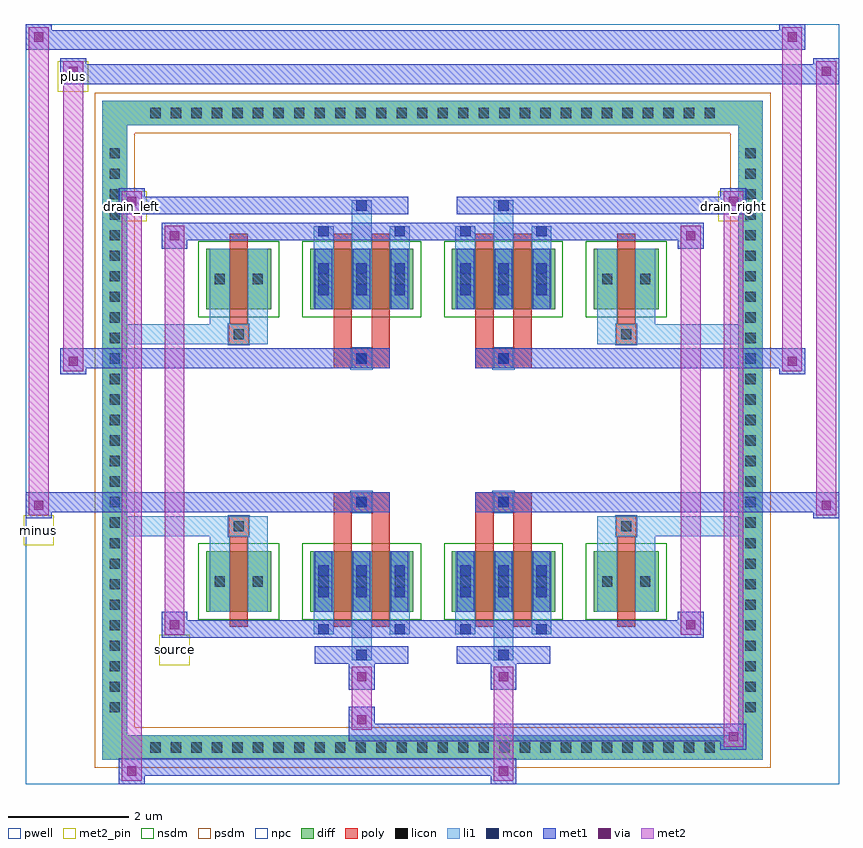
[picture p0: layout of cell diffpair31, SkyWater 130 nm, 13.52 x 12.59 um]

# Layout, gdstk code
import gdstk
lib = gdstk.Library(unit=1e-6, precision=5e-09)
def R(c, l, rs):  # rectangles x0, y0, x1, y1
    for r in rs: c.add(gdstk.rectangle(r[:2], r[2:], *l))
def A(c, l, x, y, w, h, nx, ny, dx, dy):  # array of equal rectangles
    R(c, l, [(x+i*dx, y+j*dy, x+i*dx+w, y+j*dy+h) for i in range(nx) for j in range(ny)])
def P(c, l, *ps):  # polygons
    for p in ps: c.add(gdstk.Polygon(p, *l))
pwell = (64, 44)
diff = (65, 20)
poly = (66, 20)
licon = (66, 44)
li1 = (67, 20)
mcon = (67, 44)
met1 = (68, 20)
via = (68, 44)
met2_pin = (69, 16)
met2 = (69, 20)
nsdm = (93, 44)
psdm = (94, 20)
npc = (95, 20)

diffpair31 = lib.new_cell('diffpair31')
R(diffpair31, pwell, [(-6.74,-5.86,6.74,6.73), (-4.06,-4.05,-0.01,-0.825), (0.01,-4.05,4.06,-0.825), (-4.06,0.825,-0.01,4.05), (0.01,0.825,4.06,4.05)])
A(diffpair31, diff, -4.795, -5.46, 0.41, 0.41, 28, 2, 0.34, 10.51)
A(diffpair31, diff, -5.47, -4.795, 0.41, 0.41, 1, 28, 0, 0.34)
A(diffpair31, diff, 5.06, -4.795, 0.41, 0.41, 1, 28, 0, 0.34)
R(diffpair31, diff, [(-4.795,-5.46,4.795,-5.05), (-5.47,-4.795,-5.06,4.795), (5.06,-4.795,5.47,4.795), (-3.75,-3.005,-2.67,-2.005), (-2.03,-3.005,-0.32,-2.005), (0.32,-3.005,2.03,-2.005), (2.67,-3.005,3.75,-2.005), (-3.75,2.005,-2.67,3.005), (-2.03,2.005,-0.32,3.005), (0.32,2.005,2.03,3.005), (2.67,2.005,3.75,3.005), (-4.795,5.05,4.795,5.46)])
P(diffpair31, diff, [(5.47,5.46),(-5.47,5.46),(-5.47,-5.05),(-5.06,-5.05),(-5.06,5.05),(5.06,5.05),(5.06,-5.05),(-5.06,-5.05),(-5.47,-5.05),(-5.47,-5.46),(5.47,-5.46)])
R(diffpair31, poly, [(-3.36,-3.255,-3.06,-1.755), (-1.64,-3.255,-1.34,-1.755), (-1.01,-3.255,-0.71,-1.755), (0.71,-3.255,1.01,-1.755), (1.34,-3.255,1.64,-1.755), (3.06,-3.255,3.36,-1.755), (-3.375,-1.755,-3.045,-1.425), (-3.375,-1.755,-3.045,-1.425), (-1.64,-1.755,-1.34,-1.355), (-1.01,-1.755,-0.71,-1.355), (0.71,-1.755,1.01,-1.355), (1.34,-1.755,1.64,-1.355), (3.045,-1.755,3.375,-1.425), (3.045,-1.755,3.375,-1.425), (-1.64,-1.355,-0.71,-1.025), (-1.34,-1.355,-1.01,-1.025), (0.71,-1.355,1.64,-1.025), (1.01,-1.355,1.34,-1.025), (-1.64,1.025,-0.71,1.355), (-1.34,1.025,-1.01,1.355), (0.71,1.025,1.64,1.355), (1.01,1.025,1.34,1.355), (-1.64,1.355,-1.34,1.755), (-1.01,1.355,-0.71,1.755), (0.71,1.355,1.01,1.755), (1.34,1.355,1.64,1.755), (-3.375,1.425,-3.045,1.755), (-3.375,1.425,-3.045,1.755), (3.045,1.425,3.375,1.755), (3.045,1.425,3.375,1.755), (-3.36,1.755,-3.06,3.255), (-1.64,1.755,-1.34,3.255), (-1.01,1.755,-0.71,3.255), (0.71,1.755,1.01,3.255), (1.34,1.755,1.64,3.255), (3.06,1.755,3.36,3.255)])
A(diffpair31, licon, -4.675, -5.34, 0.17, 0.17, 28, 2, 0.34, 10.51)
A(diffpair31, licon, -5.35, -4.675, 0.17, 0.17, 1, 28, 0, 0.34)
A(diffpair31, licon, 5.18, -4.675, 0.17, 0.17, 1, 28, 0, 0.34)
A(diffpair31, licon, -1.89, -2.59, 0.17, 0.17, 3, 2, 0.63, 5.01)
A(diffpair31, licon, 0.46, -2.59, 0.17, 0.17, 3, 2, 0.63, 5.01)
R(diffpair31, licon, [(-3.61,-2.59,-3.44,-2.42), (-2.98,-2.59,-2.81,-2.42), (2.81,-2.59,2.98,-2.42), (3.44,-2.59,3.61,-2.42), (-3.295,-1.675,-3.125,-1.505), (3.125,-1.675,3.295,-1.505), (-1.26,-1.275,-1.09,-1.105), (1.09,-1.275,1.26,-1.105), (-1.26,1.105,-1.09,1.275), (1.09,1.105,1.26,1.275), (-3.295,1.505,-3.125,1.675), (3.125,1.505,3.295,1.675), (-3.61,2.42,-3.44,2.59), (-2.98,2.42,-2.81,2.59), (2.81,2.42,2.98,2.59), (3.44,2.42,3.61,2.59)])
A(diffpair31, li1, -4.755, -5.42, 0.33, 0.33, 28, 2, 0.34, 10.51)
A(diffpair31, li1, -5.43, -4.755, 0.33, 0.33, 1, 28, 0, 0.34)
A(diffpair31, li1, 5.1, -4.755, 0.33, 0.33, 1, 28, 0, 0.34)
A(diffpair31, li1, -1.97, -3.005, 0.33, 1, 3, 2, 0.63, 5.01)
A(diffpair31, li1, 0.38, -3.005, 0.33, 1, 3, 2, 0.63, 5.01)
A(diffpair31, li1, -1.89, -2.77, 0.17, 0.17, 3, 2, 0.63, 0.36)
A(diffpair31, li1, -1.89, -2.77, 0.17, 0.53, 3, 2, 0.63, 5.01)
A(diffpair31, li1, 0.46, -2.77, 0.17, 0.17, 3, 2, 0.63, 0.36)
A(diffpair31, li1, 0.46, -2.77, 0.17, 0.53, 3, 2, 0.63, 5.01)
A(diffpair31, li1, -1.97, -2.67, 0.33, 0.33, 3, 2, 0.63, 5.01)
A(diffpair31, li1, 0.38, -2.67, 0.33, 0.33, 3, 2, 0.63, 5.01)
A(diffpair31, li1, -1.89, 2.24, 0.17, 0.17, 3, 2, 0.63, 0.36)
A(diffpair31, li1, 0.46, 2.24, 0.17, 0.17, 3, 2, 0.63, 0.36)
R(diffpair31, li1, [(-5.47,-5.46,-5.06,-5.05), (-5.47,-5.46,-5.06,-5.05), (-5.06,-5.46,5.06,-5.05), (5.06,-5.46,5.47,-5.05), (5.06,-5.46,5.47,-5.05), (-5.47,-5.05,-5.06,5.05), (5.06,-5.05,5.47,5.05), (-1.34,-3.81,-1.01,-3.005), (-1.26,-3.81,-1.09,-3.64), (1.01,-3.81,1.34,-3.005), (1.09,-3.81,1.26,-3.64), (-1.97,-3.38,-1.64,-3.005), (-1.89,-3.38,-1.72,-3.21), (-0.71,-3.38,-0.38,-3.005), (-0.63,-3.38,-0.46,-3.21), (0.38,-3.38,0.71,-3.005), (0.46,-3.38,0.63,-3.21), (1.64,-3.38,1.97,-3.005), (1.72,-3.38,1.89,-3.21), (-3.69,-3.005,-3.36,-2.005), (-3.06,-3.005,-2.73,-2.005), (2.73,-3.005,3.06,-2.005), (3.36,-3.005,3.69,-2.005), (-3.69,-2.67,-3.36,-2.34), (-3.06,-2.67,-2.73,-2.34), (2.73,-2.67,3.06,-2.34), (3.36,-2.67,3.69,-2.34), (-3.69,-2.005,-3.36,-1.425), (-3.06,-2.005,-2.73,-1.425), (2.73,-2.005,3.06,-1.425), (3.36,-2.005,3.69,-1.425), (-5.47,-1.755,-3.375,-1.425), (-3.69,-1.755,-3.375,-1.425), (-3.375,-1.755,-3.045,-1.425), (-3.045,-1.755,-2.73,-1.425), (2.73,-1.755,3.045,-1.425), (3.045,-1.755,3.375,-1.425), (3.045,-1.755,5.47,-1.425), (3.375,-1.755,3.69,-1.425), (-1.34,-1.355,-1.01,-1.025), (1.01,-1.355,1.34,-1.025), (-1.34,1.025,-1.01,1.355), (1.01,1.025,1.34,1.355), (-5.47,1.425,-3.375,1.755), (-3.69,1.425,-3.375,1.755), (-3.69,1.425,-3.36,2.005), (-3.375,1.425,-3.045,1.755), (-3.06,1.425,-2.73,2.005), (-3.045,1.425,-2.73,1.755), (2.73,1.425,3.045,1.755), (2.73,1.425,3.06,2.005), (3.045,1.425,3.375,1.755), (3.045,1.425,5.47,1.755), (3.36,1.425,3.69,2.005), (3.375,1.425,3.69,1.755), (-3.69,2.005,-3.36,3.005), (-3.06,2.005,-2.73,3.005), (2.73,2.005,3.06,3.005), (3.36,2.005,3.69,3.005), (-3.69,2.34,-3.36,2.67), (-3.06,2.34,-2.73,2.67), (2.73,2.34,3.06,2.67), (3.36,2.34,3.69,2.67), (-1.97,3.005,-1.64,3.38), (-1.34,3.005,-1.01,3.81), (-0.71,3.005,-0.38,3.38), (0.38,3.005,0.71,3.38), (1.01,3.005,1.34,3.81), (1.64,3.005,1.97,3.38), (-1.89,3.21,-1.72,3.38), (-0.63,3.21,-0.46,3.38), (0.46,3.21,0.63,3.38), (1.72,3.21,1.89,3.38), (-1.26,3.64,-1.09,3.81), (1.09,3.64,1.26,3.81), (-5.47,5.05,-5.06,5.46), (-5.47,5.05,-5.06,5.46), (-5.06,5.05,5.06,5.46), (5.06,5.05,5.47,5.46), (5.06,5.05,5.47,5.46)])
A(diffpair31, mcon, -1.89, -2.77, 0.17, 0.17, 3, 2, 0.63, 0.36)
A(diffpair31, mcon, 0.46, -2.77, 0.17, 0.17, 3, 2, 0.63, 0.36)
A(diffpair31, mcon, -1.89, 2.24, 0.17, 0.17, 3, 2, 0.63, 0.36)
A(diffpair31, mcon, 0.46, 2.24, 0.17, 0.17, 3, 2, 0.63, 0.36)
R(diffpair31, mcon, [(-1.26,-3.81,-1.09,-3.64), (1.09,-3.81,1.26,-3.64), (-1.89,-3.38,-1.72,-3.21), (-0.63,-3.38,-0.46,-3.21), (0.46,-3.38,0.63,-3.21), (1.72,-3.38,1.89,-3.21), (-1.26,-1.275,-1.09,-1.105), (1.09,-1.275,1.26,-1.105), (-1.26,1.105,-1.09,1.275), (1.09,1.105,1.26,1.275), (-1.89,3.21,-1.72,3.38), (-0.63,3.21,-0.46,3.38), (0.46,3.21,0.63,3.38), (1.72,3.21,1.89,3.38), (-1.26,3.64,-1.09,3.81), (1.09,3.64,1.26,3.81)])
A(diffpair31, met1, -1.95, -3.005, 0.29, 1, 3, 2, 0.63, 5.01)
A(diffpair31, met1, 0.4, -3.005, 0.29, 1, 3, 2, 0.63, 5.01)
A(diffpair31, met1, -1.95, -2.83, 0.29, 0.29, 3, 2, 0.63, 0.36)
A(diffpair31, met1, 0.4, -2.83, 0.29, 0.29, 3, 2, 0.63, 0.36)
A(diffpair31, met1, -1.95, 2.18, 0.29, 0.29, 3, 2, 0.63, 0.36)
A(diffpair31, met1, 0.4, 2.18, 0.29, 0.29, 3, 2, 0.63, 0.36)
R(diffpair31, met1, [(-5.2,-5.86,-4.77,-5.43), (0.96,-5.86,1.39,-5.43), (-5.2,-5.72,1.39,-5.43), (4.77,-5.29,5.2,-4.86), (-1.39,-5.15,5.2,-4.86), (-1.39,-5.01,-0.96,-4.58), (-1.39,-4.3,-0.96,-3.87), (0.96,-4.3,1.39,-3.87), (-1.95,-3.87,-0.4,-3.58), (-1.32,-3.87,-1.03,-3.58), (0.4,-3.87,1.95,-3.58), (1.03,-3.87,1.32,-3.58), (-4.49,-3.44,-4.06,-3.01), (-4.49,-3.44,-1.95,-3.15), (-1.95,-3.44,-1.66,-3.15), (-1.95,-3.44,-0.4,-3.15), (-0.69,-3.44,-0.4,-3.15), (-0.4,-3.44,0.4,-3.15), (0.4,-3.44,0.69,-3.15), (0.4,-3.44,1.95,-3.15), (1.66,-3.44,1.95,-3.15), (1.95,-3.44,4.49,-3.15), (4.06,-3.44,4.49,-3.01), (-6.74,-1.455,-6.31,-1.025), (6.31,-1.455,6.74,-1.025), (-6.74,-1.355,-0.71,-1.025), (-1.64,-1.355,-0.71,-1.025), (0.71,-1.355,1.64,-1.025), (0.71,-1.355,6.74,-1.025), (-1.32,-1.335,-1.03,-1.045), (1.03,-1.335,1.32,-1.045), (-6.17,0.925,-5.74,1.355), (5.74,0.925,6.17,1.355), (-6.17,1.025,-1.64,1.355), (-1.64,1.025,-0.71,1.355), (0.71,1.025,1.64,1.355), (1.64,1.025,6.17,1.355), (-1.32,1.045,-1.03,1.335), (1.03,1.045,1.32,1.335), (-4.49,3.01,-4.06,3.44), (4.06,3.01,4.49,3.44), (-4.49,3.15,-1.95,3.44), (-1.95,3.15,-1.66,3.44), (-1.95,3.15,-0.4,3.44), (-0.69,3.15,-0.4,3.44), (-0.4,3.15,0.4,3.44), (0.4,3.15,0.69,3.44), (0.4,3.15,1.95,3.44), (1.66,3.15,1.95,3.44), (1.95,3.15,4.49,3.44), (-5.2,3.58,-4.77,4.01), (-5.2,3.58,-1.95,3.87), (-1.95,3.58,-0.4,3.87), (-1.32,3.58,-1.03,3.87), (0.4,3.58,1.95,3.87), (1.03,3.58,1.32,3.87), (1.95,3.58,5.2,3.87), (4.77,3.58,5.2,4.01), (-6.17,5.73,-5.74,6.16), (-6.17,5.73,-4.06,6.06), (-4.06,5.73,4.06,6.06), (4.06,5.73,6.74,6.06), (6.31,5.73,6.74,6.16), (-6.74,6.3,-6.31,6.73), (-6.74,6.3,-4.06,6.63), (-4.06,6.3,4.06,6.63), (4.06,6.3,6.17,6.63), (5.74,6.3,6.17,6.73)])
R(diffpair31, via, [(-5.06,-5.72,-4.91,-5.57), (1.1,-5.72,1.25,-5.57), (4.91,-5.15,5.06,-5), (-1.25,-4.87,-1.1,-4.72), (-1.25,-4.16,-1.1,-4.01), (1.1,-4.16,1.25,-4.01), (-4.35,-3.3,-4.2,-3.15), (4.2,-3.3,4.35,-3.15), (-6.6,-1.315,-6.45,-1.165), (6.45,-1.315,6.6,-1.165), (-6.03,1.065,-5.88,1.215), (5.88,1.065,6.03,1.215), (-4.35,3.15,-4.2,3.3), (4.2,3.15,4.35,3.3), (-5.06,3.72,-4.91,3.87), (4.91,3.72,5.06,3.87), (-6.03,5.87,-5.88,6.02), (6.45,5.87,6.6,6.02), (-6.6,6.44,-6.45,6.59), (5.88,6.44,6.03,6.59)])
R(diffpair31, met2_pin, [(-4.525,-3.89,-4.025,-3.39), (-6.775,-1.905,-6.275,-1.405), (-5.235,3.46,-4.735,3.96), (4.735,3.46,5.235,3.96), (-6.205,5.61,-5.705,6.11)])
R(diffpair31, met2, [(-5.15,-5.81,-4.82,-5.48), (-5.15,-5.81,-4.82,3.96), (1.01,-5.81,1.34,-5.48), (1.01,-5.48,1.34,-4.25), (4.82,-5.24,5.15,-4.91), (4.82,-5.24,5.15,3.96), (-1.34,-4.96,-1.01,-4.63), (-1.34,-4.63,-1.01,-4.25), (-1.34,-4.25,-1.01,-3.92), (1.01,-4.25,1.34,-3.92), (-4.44,-3.39,-4.11,-3.06), (-4.44,-3.39,-4.11,3.39), (4.11,-3.39,4.44,-3.06), (4.11,-3.39,4.44,3.39), (-6.69,-1.405,-6.36,-1.075), (-6.69,-1.405,-6.36,6.68), (6.36,-1.405,6.69,-1.075), (6.36,-1.405,6.69,6.11), (-6.12,0.975,-5.79,1.305), (-6.12,0.975,-5.79,6.11), (5.79,0.975,6.12,1.305), (5.79,0.975,6.12,6.68), (-4.44,3.06,-4.11,3.39), (4.11,3.06,4.44,3.39), (-5.15,3.63,-4.82,3.96), (4.82,3.63,5.15,3.96), (-6.12,5.78,-5.79,6.11), (6.36,5.78,6.69,6.11), (-6.69,6.35,-6.36,6.68), (5.79,6.35,6.12,6.68)])
P(diffpair31, met2, [(6.69,-1.405),(6.69,-1.405),(6.69,-1.075),(6.69,-1.075)],
  [(6.69,5.78),(6.69,5.78),(6.69,6.11),(6.69,6.11)],
  [(-6.36,-1.405),(-6.36,-1.405),(-6.36,-1.075),(-6.36,-1.075)],
  [(-6.36,6.35),(-6.36,6.35),(-6.36,6.68),(-6.36,6.68)],
  [(6.12,0.975),(6.12,0.975),(6.12,1.305),(6.12,1.305)],
  [(6.12,6.35),(6.12,6.35),(6.12,6.68),(6.12,6.68)],
  [(-5.79,0.975),(-5.79,0.975),(-5.79,1.305),(-5.79,1.305)],
  [(-5.79,5.78),(-5.79,5.78),(-5.79,6.11),(-5.79,6.11)],
  [(-4.82,-5.81),(-4.82,-5.81),(-4.82,-5.48),(-4.82,-5.48)],
  [(-4.82,3.63),(-4.82,3.63),(-4.82,3.96),(-4.82,3.96)],
  [(5.15,-5.24),(5.15,-5.24),(5.15,-4.91),(5.15,-4.91)],
  [(5.15,3.63),(5.15,3.63),(5.15,3.96),(5.15,3.96)],
  [(-4.11,-3.39),(-4.11,-3.39),(-4.11,-3.06),(-4.11,-3.06)],
  [(-4.11,3.06),(-4.11,3.06),(-4.11,3.39),(-4.11,3.39)],
  [(4.44,-3.39),(4.44,-3.39),(4.44,-3.06),(4.44,-3.06)],
  [(4.44,3.06),(4.44,3.06),(4.44,3.39),(4.44,3.39)])
R(diffpair31, nsdm, [(-3.88,-3.135,-2.54,-1.875), (-2.16,-3.135,-0.19,-1.875), (0.19,-3.135,2.16,-1.875), (2.54,-3.135,3.88,-1.875), (-3.88,1.875,-2.54,3.135), (-2.16,1.875,-0.19,3.135), (0.19,1.875,2.16,3.135), (2.54,1.875,3.88,3.135)])
P(diffpair31, psdm, [(5.6,5.59),(-5.6,5.59),(-5.6,-4.92),(-4.93,-4.92),(-4.93,4.92),(4.93,4.92),(4.93,-4.92),(-4.93,-4.92),(-5.6,-4.92),(-5.6,-5.59),(5.6,-5.59)])
R(diffpair31, npc, [(-3.395,-1.775,-3.025,-1.405), (3.025,-1.775,3.395,-1.405), (-1.36,-1.375,-0.99,-1.005), (0.99,-1.375,1.36,-1.005), (-1.36,1.005,-0.99,1.375), (0.99,1.005,1.36,1.375), (-3.395,1.405,-3.025,1.775), (3.025,1.405,3.395,1.775)])
diffpair31.add(gdstk.Label('minus', (-6.525,-1.655), layer=69, texttype=5))
diffpair31.add(gdstk.Label('drain_right', (4.985,3.71), layer=69, texttype=5))
diffpair31.add(gdstk.Label('drain_left', (-4.985,3.71), layer=69, texttype=5))
diffpair31.add(gdstk.Label('source', (-4.275,-3.64), layer=69, texttype=5))
diffpair31.add(gdstk.Label('plus', (-5.955,5.86), layer=69, texttype=5))

lib.write_gds('diffpair31.gds')
